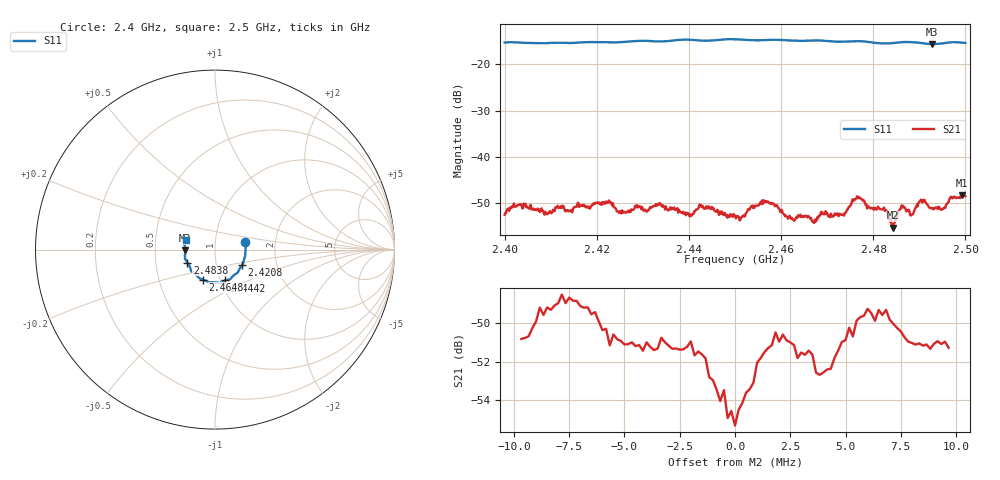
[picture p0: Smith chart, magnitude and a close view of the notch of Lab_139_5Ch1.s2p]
# Hz S RI R 50
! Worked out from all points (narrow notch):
!   601 points, 2.4 GHz to 2.5 GHz, reference 50 ohm
!   highest |S21| = -48.33 dB at 2.4992 GHz (marker M1); lowest = -55.3 dB at 2.4843 GHz (marker M2)
!   notch at M2: 4.1 dB deep, 1.63 MHz wide at half that depth
!   lowest |S11| = -15.6 dB at 2.4928 GHz (marker M3), VSWR 1.40, Z = 35.8 - j0.347 ohm
!   |S11| at or under -10 dB: start of sweep to end of sweep
!   S12 and S22 are empty: the file has one direction only
!   S11 on the Smith chart (normalised r, x): 2.4 GHz: 1.40, +0.12; 2.4208 GHz: 1.33, -0.24; 2.4442 GHz: 1.05, -0.37; 2.4648 GHz: 0.83, -0.28; 2.4838 GHz: 0.73, -0.11; 2.5 GHz: 0.72, +0.08
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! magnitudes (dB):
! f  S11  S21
! 2.4 GHz  -15.3  -52.5
! 2.4167 GHz  -15.2  -50.6
! 2.4208 GHz  -15.2  -50.1
! 2.4257 GHz  -15.1  -52.1
! 2.4333 GHz  -15.0  -50.2
! 2.4405 GHz  -14.7  -52.8
! 2.4442 GHz  -14.9  -51.1
! 2.45 GHz  -14.5  -52.7
! 2.4567 GHz  -14.7  -49.5
! 2.4648 GHz  -14.9  -52.8
! 2.4667 GHz  -14.8  -53.8
! 2.4735 GHz  -15.1  -52.5
! 2.4767 GHz  -15.0  -49.0
! 2.4833 GHz  -15.5  -53.0
! 2.4838 GHz  -15.4  -53.5
! 2.4843 GHz  -15.4  -55.3
! 2.4863 GHz  -15.2  -51.0
! 2.4885 GHz  -15.2  -52.4
! 2.4907 GHz  -15.4  -49.9
! 2.4928 GHz  -15.6  -51.2
! 2.4992 GHz  -15.3  -48.3
! 2.5 GHz  -15.4  -48.5
